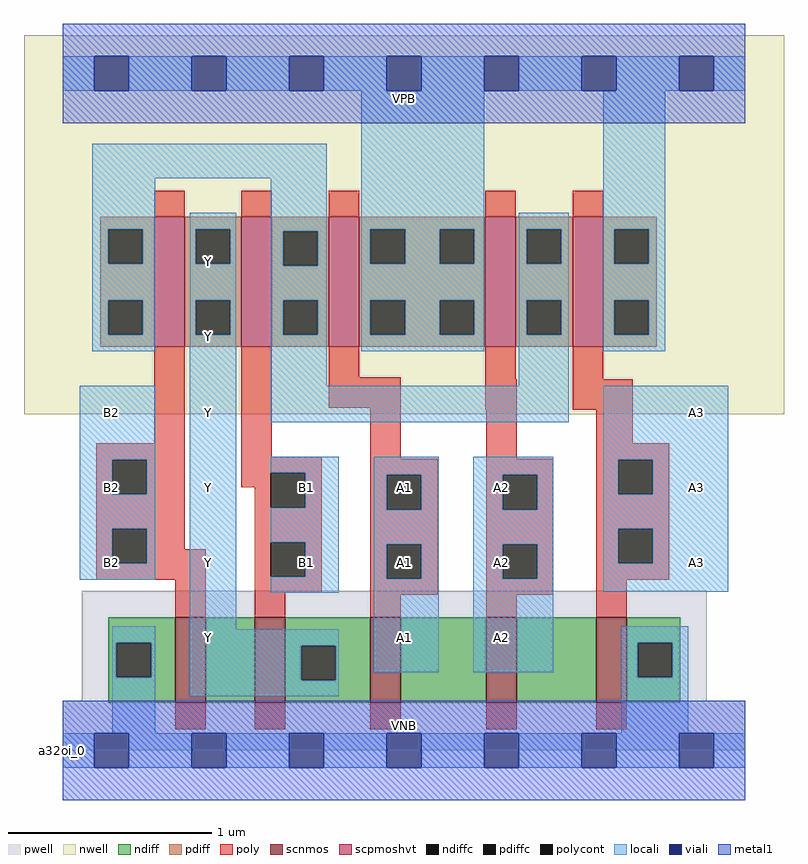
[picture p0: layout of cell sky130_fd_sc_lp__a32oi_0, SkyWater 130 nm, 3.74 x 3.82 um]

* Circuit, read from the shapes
.subckt sky130_fd_sc_lp__a32oi_0 A1 A2 A3 B1 B2 VGND VNB VPB VPWR Y
XM1 n1 B2 VGND VNB sky130_fd_pr__nfet_01v8 w=0.42 l=0.15
XM2 Y B1 n1 VNB sky130_fd_pr__nfet_01v8 w=0.42 l=0.15
XM3 n2 A1 Y VNB sky130_fd_pr__nfet_01v8 w=0.42 l=0.15
XM4 n3 A2 n2 VNB sky130_fd_pr__nfet_01v8 w=0.42 l=0.15
XM5 VGND A3 n3 VNB sky130_fd_pr__nfet_01v8 w=0.42 l=0.15
XM6 Y B2 n4 VPB sky130_fd_pr__pfet_01v8_hvt w=0.64 l=0.15
XM7 n4 B1 Y VPB sky130_fd_pr__pfet_01v8_hvt w=0.64 l=0.15
XM8 VPWR A1 n4 VPB sky130_fd_pr__pfet_01v8_hvt w=0.64 l=0.15
XM9 n4 A2 VPWR VPB sky130_fd_pr__pfet_01v8_hvt w=0.64 l=0.15
XM10 VPWR A3 n4 VPB sky130_fd_pr__pfet_01v8_hvt w=0.64 l=0.15
.ends

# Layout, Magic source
magic
tech sky130A
magscale 1 2
<< nwell >>
rect -38 331 710 704
<< pwell >>
rect 19 49 634 157
rect 0 0 672 49
<< scnmos >>
rect 111 47 141 131
rect 189 47 219 131
rect 303 47 333 131
rect 417 47 447 131
rect 525 47 555 131
<< scpmoshvt >>
rect 90 397 120 525
rect 176 397 206 525
rect 262 397 292 525
rect 416 397 446 525
rect 502 397 532 525
<< ndiff >>
rect 45 106 111 131
rect 45 72 53 106
rect 87 72 111 106
rect 45 47 111 72
rect 141 47 189 131
rect 219 103 303 131
rect 219 69 235 103
rect 269 69 303 103
rect 219 47 303 69
rect 333 47 417 131
rect 447 47 525 131
rect 555 106 608 131
rect 555 72 566 106
rect 600 72 608 106
rect 555 47 608 72
<< pdiff >>
rect 37 513 90 525
rect 37 479 45 513
rect 79 479 90 513
rect 37 443 90 479
rect 37 409 45 443
rect 79 409 90 443
rect 37 397 90 409
rect 120 513 176 525
rect 120 479 131 513
rect 165 479 176 513
rect 120 443 176 479
rect 120 409 131 443
rect 165 409 176 443
rect 120 397 176 409
rect 206 511 262 525
rect 206 477 217 511
rect 251 477 262 511
rect 206 443 262 477
rect 206 409 217 443
rect 251 409 262 443
rect 206 397 262 409
rect 292 513 416 525
rect 292 479 303 513
rect 337 479 371 513
rect 405 479 416 513
rect 292 443 416 479
rect 292 409 303 443
rect 337 409 371 443
rect 405 409 416 443
rect 292 397 416 409
rect 446 513 502 525
rect 446 479 457 513
rect 491 479 502 513
rect 446 443 502 479
rect 446 409 457 443
rect 491 409 502 443
rect 446 397 502 409
rect 532 513 585 525
rect 532 479 543 513
rect 577 479 585 513
rect 532 443 585 479
rect 532 409 543 443
rect 577 409 585 443
rect 532 397 585 409
<< ndiffc >>
rect 53 72 87 106
rect 235 69 269 103
rect 566 72 600 106
<< pdiffc >>
rect 45 479 79 513
rect 45 409 79 443
rect 131 479 165 513
rect 131 409 165 443
rect 217 477 251 511
rect 217 409 251 443
rect 303 479 337 513
rect 371 479 405 513
rect 303 409 337 443
rect 371 409 405 443
rect 457 479 491 513
rect 457 409 491 443
rect 543 479 577 513
rect 543 409 577 443
<< poly >>
rect 90 525 120 551
rect 176 525 206 551
rect 262 525 292 551
rect 416 525 446 551
rect 502 525 532 551
rect 90 302 120 397
rect 33 286 120 302
rect 33 252 49 286
rect 83 252 120 286
rect 176 289 206 397
rect 262 367 292 397
rect 262 337 333 367
rect 176 273 255 289
rect 176 259 205 273
rect 33 218 120 252
rect 33 184 49 218
rect 83 198 120 218
rect 189 239 205 259
rect 239 239 255 273
rect 189 205 255 239
rect 83 184 141 198
rect 33 168 141 184
rect 111 131 141 168
rect 189 171 205 205
rect 239 171 255 205
rect 189 155 255 171
rect 303 287 333 337
rect 416 365 446 397
rect 502 365 532 397
rect 416 335 447 365
rect 502 335 561 365
rect 417 287 447 335
rect 525 302 561 335
rect 303 271 369 287
rect 303 237 319 271
rect 353 237 369 271
rect 303 203 369 237
rect 303 169 319 203
rect 353 169 369 203
rect 189 131 219 155
rect 303 153 369 169
rect 417 271 483 287
rect 417 237 433 271
rect 467 237 483 271
rect 417 203 483 237
rect 417 169 433 203
rect 467 169 483 203
rect 417 153 483 169
rect 525 286 597 302
rect 525 252 547 286
rect 581 252 597 286
rect 525 218 597 252
rect 525 184 547 218
rect 581 184 597 218
rect 525 168 597 184
rect 303 131 333 153
rect 417 131 447 153
rect 525 131 555 168
rect 111 21 141 47
rect 189 21 219 47
rect 303 21 333 47
rect 417 21 447 47
rect 525 21 555 47
<< polycont >>
rect 49 252 83 286
rect 49 184 83 218
rect 205 239 239 273
rect 205 171 239 205
rect 319 237 353 271
rect 319 169 353 203
rect 433 237 467 271
rect 433 169 467 203
rect 547 252 581 286
rect 547 184 581 218
<< locali >>
rect 0 649 31 683
rect 65 649 127 683
rect 161 649 223 683
rect 257 649 319 683
rect 353 649 415 683
rect 449 649 511 683
rect 545 649 607 683
rect 641 649 672 683
rect 29 563 260 597
rect 29 513 91 563
rect 29 479 45 513
rect 79 479 91 513
rect 29 443 91 479
rect 29 409 45 443
rect 79 409 91 443
rect 29 393 91 409
rect 125 513 171 529
rect 125 479 131 513
rect 165 479 171 513
rect 125 443 171 479
rect 125 409 131 443
rect 165 409 171 443
rect 17 286 91 359
rect 17 252 49 286
rect 83 252 91 286
rect 17 218 91 252
rect 17 184 49 218
rect 83 184 91 218
rect 17 168 91 184
rect 49 106 91 122
rect 49 72 53 106
rect 87 72 91 106
rect 49 17 91 72
rect 125 119 171 409
rect 205 511 260 563
rect 205 477 217 511
rect 251 477 260 511
rect 205 443 260 477
rect 205 409 217 443
rect 251 409 260 443
rect 205 359 260 409
rect 294 513 415 649
rect 294 479 303 513
rect 337 479 371 513
rect 405 479 415 513
rect 294 443 415 479
rect 294 409 303 443
rect 337 409 371 443
rect 405 409 415 443
rect 294 393 415 409
rect 449 513 498 529
rect 449 479 457 513
rect 491 479 498 513
rect 449 443 498 479
rect 449 409 457 443
rect 491 409 498 443
rect 449 359 498 409
rect 532 513 593 649
rect 532 479 543 513
rect 577 479 593 513
rect 532 443 593 479
rect 532 409 543 443
rect 577 409 593 443
rect 532 393 593 409
rect 205 323 498 359
rect 205 273 272 289
rect 239 239 272 273
rect 205 205 272 239
rect 239 171 272 205
rect 205 155 272 171
rect 306 271 370 289
rect 306 237 319 271
rect 353 237 370 271
rect 306 203 370 237
rect 306 169 319 203
rect 353 169 370 203
rect 125 103 272 119
rect 125 69 235 103
rect 269 69 272 103
rect 306 77 370 169
rect 404 271 483 289
rect 404 237 433 271
rect 467 237 483 271
rect 404 203 483 237
rect 404 169 433 203
rect 467 169 483 203
rect 404 77 483 169
rect 532 286 655 359
rect 532 252 547 286
rect 581 252 655 286
rect 532 218 655 252
rect 532 184 547 218
rect 581 184 655 218
rect 532 156 655 184
rect 550 106 616 122
rect 125 53 272 69
rect 550 72 566 106
rect 600 72 616 106
rect 550 17 616 72
rect 0 -17 31 17
rect 65 -17 127 17
rect 161 -17 223 17
rect 257 -17 319 17
rect 353 -17 415 17
rect 449 -17 511 17
rect 545 -17 607 17
rect 641 -17 672 17
<< viali >>
rect 31 649 65 683
rect 127 649 161 683
rect 223 649 257 683
rect 319 649 353 683
rect 415 649 449 683
rect 511 649 545 683
rect 607 649 641 683
rect 31 -17 65 17
rect 127 -17 161 17
rect 223 -17 257 17
rect 319 -17 353 17
rect 415 -17 449 17
rect 511 -17 545 17
rect 607 -17 641 17
<< metal1 >>
rect 0 683 672 715
rect 0 649 31 683
rect 65 649 127 683
rect 161 649 223 683
rect 257 649 319 683
rect 353 649 415 683
rect 449 649 511 683
rect 545 649 607 683
rect 641 649 672 683
rect 0 617 672 649
rect 0 17 672 49
rect 0 -17 31 17
rect 65 -17 127 17
rect 161 -17 223 17
rect 257 -17 319 17
rect 353 -17 415 17
rect 449 -17 511 17
rect 545 -17 607 17
rect 641 -17 672 17
rect 0 -49 672 -17
<< labels >>
flabel pwell s 0 0 672 49 0 FreeSans 200 0 0 0 VNB
port 7 nsew ground bidirectional
flabel nwell s 0 617 672 666 0 FreeSans 200 0 0 0 VPB
port 8 nsew power bidirectional
rlabel comment s 0 0 0 0 4 a32oi_0
flabel metal1 s 0 617 672 666 0 FreeSans 340 0 0 0 VPWR
port 9 nsew power bidirectional
flabel metal1 s 0 0 672 49 0 FreeSans 340 0 0 0 VGND
port 6 nsew ground bidirectional
flabel locali s 319 94 353 128 0 FreeSans 340 0 0 0 A1
port 1 nsew signal input
flabel locali s 319 168 353 202 0 FreeSans 340 0 0 0 A1
port 1 nsew signal input
flabel locali s 319 242 353 276 0 FreeSans 340 0 0 0 A1
port 1 nsew signal input
flabel locali s 415 94 449 128 0 FreeSans 340 0 0 0 A2
port 2 nsew signal input
flabel locali s 415 168 449 202 0 FreeSans 340 0 0 0 A2
port 2 nsew signal input
flabel locali s 415 242 449 276 0 FreeSans 340 0 0 0 A2
port 2 nsew signal input
flabel locali s 607 168 641 202 0 FreeSans 340 0 0 0 A3
port 3 nsew signal input
flabel locali s 607 242 641 276 0 FreeSans 340 0 0 0 A3
port 3 nsew signal input
flabel locali s 607 316 641 350 0 FreeSans 340 0 0 0 A3
port 3 nsew signal input
flabel locali s 223 168 257 202 0 FreeSans 340 0 0 0 B1
port 4 nsew signal input
flabel locali s 223 242 257 276 0 FreeSans 340 0 0 0 B1
port 4 nsew signal input
flabel locali s 31 168 65 202 0 FreeSans 340 0 0 0 B2
port 5 nsew signal input
flabel locali s 31 242 65 276 0 FreeSans 340 0 0 0 B2
port 5 nsew signal input
flabel locali s 31 316 65 350 0 FreeSans 340 0 0 0 B2
port 5 nsew signal input
flabel locali s 127 94 161 128 0 FreeSans 340 0 0 0 Y
port 10 nsew signal output
flabel locali s 127 168 161 202 0 FreeSans 340 0 0 0 Y
port 10 nsew signal output
flabel locali s 127 242 161 276 0 FreeSans 340 0 0 0 Y
port 10 nsew signal output
flabel locali s 127 316 161 350 0 FreeSans 340 0 0 0 Y
port 10 nsew signal output
flabel locali s 127 390 161 424 0 FreeSans 340 0 0 0 Y
port 10 nsew signal output
flabel locali s 127 464 161 498 0 FreeSans 340 0 0 0 Y
port 10 nsew signal output
<< properties >>
string LEFsite unit
string LEFclass CORE
string FIXED_BBOX 0 0 672 666
string GDS_FILE $PDKPATH/libs.ref/sky130_fd_sc_lp/gds/sky130_fd_sc_lp.gds
string LEFsymmetry X Y R90
string GDS_END 1054186
string GDS_START 1046308
<< end >>
